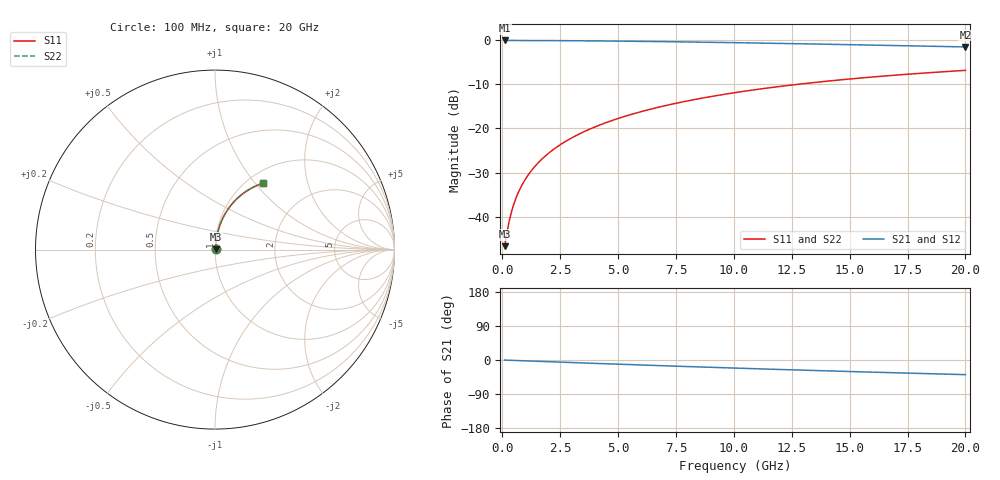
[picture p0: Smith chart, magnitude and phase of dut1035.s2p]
! Touchstone file exported from HFSS 2024.1.0
!  File:  C:/UserFiles/LocalFiles/RDL_TSV_Batchsim/temp_RDL_top_1035_1780043812.aedt
!  Generated:  04:39:44 PM May 29, 2026
!  Design:  RDL_top
!  Project:  temp_RDL_top_1035_1780043812
!  Setup:  Setup1
!  Solution:  Sweep
! Variables:
!  dtsv = 10.80580581um
!  hbump = 3um
!  htsv = 92.15um
!  ldown = 100um
!  lrdl = 450.09um
!  p = 40
!  p1 = 58.58um
!  rhole = 1um
!  t = 450um
!  tdown = 3.915915916um
!  trdl = 3.32um
!  wdown = 15.38538539um
!  wrdl = 13.21um
# GHz S MA R 50.000000
! Terminal data exported
! Port[1] = Box2_T1
! Port[2] = Box2_T2
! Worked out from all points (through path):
!   200 points, 100 MHz to 20 GHz, reference 50 ohm
!   highest |S21| = -0.03 dB at 100 MHz (marker M1); lowest = -1.5 dB at 20 GHz (marker M2)
!   group delay of S21, straight-line fit = 5.37 ps
!   lowest |S11| = -46.7 dB at 100 MHz (marker M3), VSWR 1.01, Z = 50.4 + j0.271 ohm
!   |S11| at or under -10 dB: start of sweep to 12.74 GHz
!   |S22| runs from -46.7 to -6.8 dB; largest |S21 - S12| = 4.1e-15
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0.1  0.004614 35.7  0.9963 -0.2  0.9963 -0.2  0.004614 35.7
! Gamma 0 0 0 0
! Port Impedance 50 0 50 0
0.2  0.00659 54.6  0.9962 -0.5  0.9962 -0.5  0.00659 54.6
0.3  0.008933 64.0  0.9961 -0.7  0.9961 -0.7  0.008933 64.0
0.4  0.0114 69.2  0.996 -0.9  0.996 -0.9  0.0114 69.2
0.5  0.01391 72.5  0.9958 -1.1  0.9958 -1.1  0.01391 72.5
0.6  0.01644 74.7  0.9957 -1.4  0.9957 -1.4  0.01644 74.7
0.8  0.02152 77.5  0.9954 -1.8  0.9954 -1.8  0.02152 77.5
1.1  0.02919 79.8  0.9949 -2.5  0.9949 -2.5  0.02919 79.8
1.5  0.03947 81.1  0.9941 -3.4  0.9941 -3.4  0.03947 81.1
1.8  0.0472 81.6  0.9934 -4.1  0.9934 -4.1  0.0472 81.6
2.1  0.05494 81.8  0.9926 -4.7  0.9926 -4.7  0.05494 81.8
2.7  0.07045 81.7  0.9907 -6.1  0.9907 -6.1  0.07045 81.7
3.5  0.09112 81.1  0.9874 -7.8  0.9874 -7.8  0.09112 81.1
4.2  0.1092 80.3  0.984 -9.4  0.984 -9.4  0.1092 80.3
5  0.1297 79.2  0.9795 -11.1  0.9795 -11.1  0.1297 79.2
5.9  0.1527 77.8  0.9737 -13.0  0.9737 -13.0  0.1527 77.8
6.8  0.1755 76.3  0.9674 -14.9  0.9674 -14.9  0.1755 76.4
8.3  0.2128 73.8  0.9556 -17.9  0.9556 -17.9  0.2128 73.8
10.1  0.2562 70.7  0.94 -21.5  0.94 -21.5  0.2562 70.7
13.4  0.3306 64.9  0.9086 -27.6  0.9086 -27.6  0.3306 64.9
16.7  0.3973 59.4  0.8751 -33.3  0.8751 -33.3  0.3974 59.4
20  0.456 54.2  0.841 -38.6  0.841 -38.6  0.456 54.2
